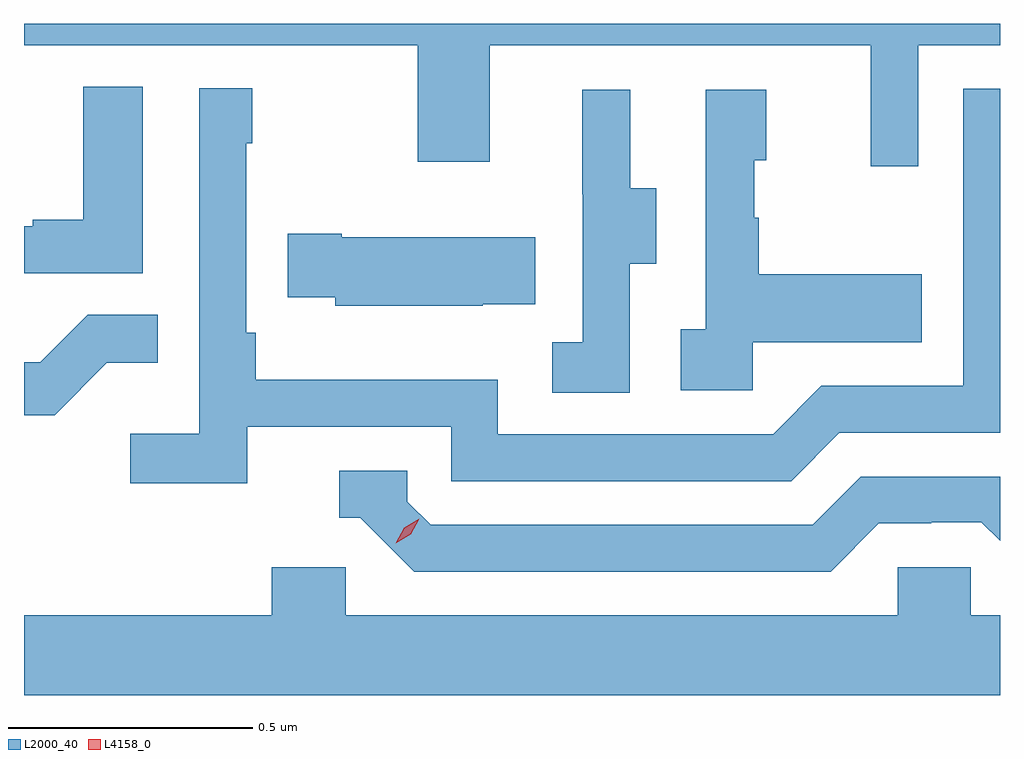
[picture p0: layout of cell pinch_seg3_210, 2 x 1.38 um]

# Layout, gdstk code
import gdstk
lib = gdstk.Library(unit=1e-6, precision=1e-09)
def P(c, l, *ps):  # polygons
    for p in ps: c.add(gdstk.Polygon(p, *l))
L2000_40 = (2000, 40)
L4158_0 = (4158, 0)

pinch_seg3_210 = lib.new_cell('pinch_seg3_210')
P(pinch_seg3_210, L2000_40, [(965.163,747.536),(965.331,747.536),(965.331,747.58),(963.331,747.58),(963.331,747.536),(964.138,747.536),(964.138,747.297),(964.285,747.297),(964.285,747.536),(965.066,747.536),(965.066,747.288),(965.163,747.288)],
  [(963.574,747.451),(963.452,747.451),(963.452,747.178),(963.349,747.178),(963.349,747.165),(963.331,747.165),(963.331,747.069),(963.574,747.069)],
  [(963.788,746.754),(964.206,746.754),(964.206,746.643),(964.903,746.643),(965.002,746.742),(965.331,746.742),(965.331,747.447),(965.256,747.447),(965.256,746.838),(964.965,746.838),(964.866,746.739),(964.302,746.739),(964.302,746.851),(963.806,746.851),(963.806,746.947),(963.786,746.947),(963.786,747.335),(963.799,747.335),(963.799,747.448),(963.69,747.448),(963.69,746.74),(963.549,746.74),(963.549,746.638),(963.788,746.638)],
  [(964.572,747.088),(964.627,747.088),(964.627,747.243),(964.573,747.243),(964.573,747.445),(964.475,747.445),(964.475,747.231),(964.476,747.231),(964.476,746.927),(964.413,746.927),(964.413,746.824),(964.572,746.824)],
  [(964.824,746.927),(965.171,746.927),(965.171,747.067),(964.837,747.067),(964.837,747.182),(964.827,747.182),(964.827,747.3),(964.852,747.3),(964.852,747.445),(964.728,747.445),(964.728,746.954),(964.677,746.954),(964.677,746.829),(964.824,746.829)],
  [(964.271,747.005),(964.379,747.005),(964.379,747.142),(963.982,747.142),(963.982,747.15),(963.871,747.15),(963.871,747.02),(963.969,747.02),(963.969,747.002),(964.271,747.002)],
  [(963.501,746.885),(963.605,746.885),(963.605,746.984),(963.462,746.984),(963.364,746.886),(963.331,746.886),(963.331,746.778),(963.394,746.778)],
  [(965.083,746.556),(965.19,746.556),(965.19,746.559),(965.293,746.559),(965.331,746.521),(965.331,746.652),(965.046,746.652),(964.947,746.553),(964.164,746.553),(964.116,746.601),(964.116,746.664),(963.977,746.664),(963.977,746.568),(964.02,746.568),(964.131,746.457),(964.984,746.457)],
  [(965.331,746.368),(965.271,746.368),(965.271,746.466),(965.121,746.466),(965.121,746.368),(963.99,746.368),(963.99,746.466),(963.839,746.466),(963.839,746.368),(963.331,746.368),(963.331,746.204),(965.331,746.204)])
P(pinch_seg3_210, L4158_0, [(964.093,746.515),(964.093,746.515),(964.11,746.547),(964.141,746.566),(964.141,746.566),(964.141,746.566),(964.124,746.534),(964.093,746.515)])

lib.write_gds('pinch_seg3_210.gds')
